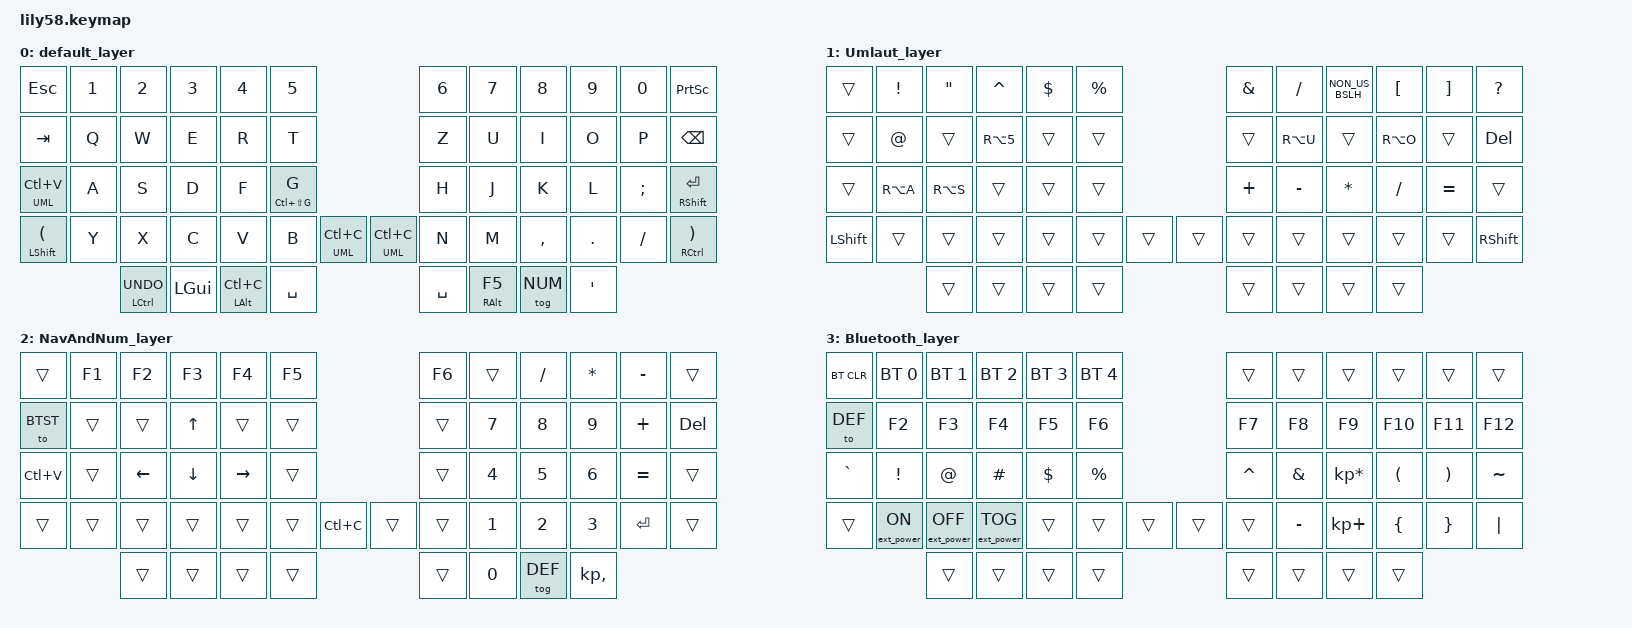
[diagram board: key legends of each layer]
/*
 * Copyright (c) 2020 The ZMK Contributors
 *
 * SPDX-License-Identifier: MIT
 */

#include <behaviors.dtsi>
#include <dt-bindings/zmk/keys.h>
#include <dt-bindings/zmk/bt.h>
#include <dt-bindings/zmk/ext_power.h>

#define DEF		0
#define UML		1
#define NUM		2
#define BTST	3

/ {
	keymap {
		compatible = "zmk,keymap";

		default_layer {
// ------------------------------------------------------------------------------------------------------------
// |  ESC  		|  1  |  2  |  3   |  4   |  5   |                   |  6    |  7    |  8    |  9   |   0   |Print Screen|
// |  TAB  		|  Q  |  W  |  E   |  R   |  T   |                   |  Z    |  U    |  I    |  O   |   P   |Back Space  |
// | L1/Paste	|  A  |  S  |  D   |  F   |  G   |                   |  H    |  J    |  K    |  L   |   ;   |Shift/Enter	|
// |SHIFT//		|  Y  |  X  |  C   |  V   |  B   |L1 Copy |  |L1 Copy|  N    |  M    |  ,    |  .   |   /   | Ctrl/) 	|
//                   |Ctrl/undo| GUI  | Alt/COPY |  SPACE |  | SPACE |Alt/FIN| TG2  	| '   	|
			bindings = <
&kp ESC   		&kp N1 &kp N2 			&kp N3   &kp N4   			&kp N5                     					&kp N6 		&kp N7   		&kp N8    	&kp N9  &kp N0   &kp PSCRN
&kp TAB   		&kp Q  &kp W  			&kp E    &kp R    			&kp T                      					&kp Z  		&kp U   		&kp I     	&kp O   &kp P    &kp BSPC
&lt UML LC(V)   &kp A  &kp S  			&kp D    &kp F    			&mt LC(LS(G)) G                      		&kp H  		&kp J    		&kp K     	&kp L   &kp SEMI &mt RSHFT ENTER
&mt LSHFT LPAR 	&kp Y  &kp X  			&kp C    &kp V    			&kp B  		&lt UML LC(C)   &lt UML LC(C)   &kp N  		&kp M    		&kp COMMA 	&kp DOT &kp FSLH &mt RCTRL RPAR
                       &mt LCTRL K_UNDO &kp LGUI &mt LALT LC(C)  	&kp SPACE  									&kp SPACE  	&mt RALT F5	&tog NUM 	&kp SQT
			>;

		};

		Umlaut_layer {
// ------------------------------------------------------------------------------------------------------------
// |       |  !  |  "  |   ^  |   $  |   %  |                   |   &  |   /   |   \   |  "[" |  "]"  |    ?  |
// |       |  @  |     | EURO |      |      |                   |      |  ue   |       |  oe  |       |  del  |
// |       |  ae |  ss |      |      |      |                   |   +  |   -   |   *   |   /  |   =   |       |
// | Shift |     |     |      |      |      |        |  |       |      |       |       |      |       | Shift |
//                     |      |      |      |        |  |       |      |       |       |
			bindings = <
&trans	 	&kp EXCL     	&kp DQT     &kp CARET   &kp DOLLAR	&kp PRCNT                  &kp AMPS &kp FSLH    &kp NON_US_BSLH  &kp LBKT    &kp RBKT  &kp QMARK
&trans     	&kp AT          &trans      &kp RA(5)   &trans      &trans                     &trans   &kp RA(U)   &trans           &kp RA(O)   &trans    &kp DEL
&trans  	&kp RA(A)       &kp RA(S)   &trans      &trans   	&trans                     &kp PLUS &kp MINUS   &kp STAR	     &kp FSLH  	 &kp EQUAL &trans
&kp LSHFT  	&trans 			&trans 		&trans 		&trans      &trans    &trans   &trans  &trans   &trans      &trans     		 &trans  	 &trans    &kp RSHFT
										&trans      &trans      &trans    &trans   &trans  &trans   &trans      &trans
			>;

		};

		NavAndNum_layer {
// ------------------------------------------------------------------------------------------------------------
// |       |  F1 |  F2 |  F3  |  F4  |  F5  |                   |  F6  |       |   /   |  *   |   -   |       |
// | BTST  |     |     |  UP  |      |      |                   |      |   7   |   8   |  9   |   +   |  DEL  |
// | PASTE |     |LEFT | DOWN |RIGHT |      |                   |      |   4   |   5   |  6   |   =   |       |
// |       |     |     |      |      |      |  COPY  |  |       |      |   1   |   2   |  3   | ENTER |       |
//                     |      |      |      |        |  |       |  0   |DEFAULT|   ,   |
			bindings = <
&trans  	&kp F1 &kp F2 	&kp F3 	 &kp F4   	&kp F5                       	&kp F6  &trans   &kp FSLH &kp STAR   &kp MINUS  &trans
&to BTST  	&trans &trans 	&kp UP   &trans  	&trans                       	&trans  &kp N7   &kp N8   &kp N9     &kp PLUS   &kp DEL
&kp LC(V)   &trans &kp LEFT &kp DOWN &kp RIGHT  &trans                      	&trans  &kp N4   &kp N5   &kp N6   	 &kp EQUAL  &trans
&trans   	&trans &trans 	&trans   &trans 	&trans   &kp LC(C)   	&trans  &trans  &kp N1   &kp N2   &kp N3   	 &kp ENTER  &trans
							&trans   &trans  	&trans   &trans   		&trans  &kp N0  &tog DEF &kp KP_COMMA
			>;

		};
		
	Bluetooth_layer {
// ------------------------------------------------------------------------------------------------------------
// | BTCLR | BT1 | BT2 |  BT3 |  BT4 |  BT5 |                   |      |       |       |      |       |       |
// |DEFAULT|  F2 |  F3 |  F4  |  F5  |  F6  |                   |  F7  |  F8   |  F9   |  F10 |  F11  |  F12  |
// |   `   |  !  |  @  |  #   |  $   |  %   |                   |  ^   |  &    |  *    |  (   |   )   |   ~   |
// |       |     |     |      |      |      |        |  |       |      |  _    |  +    |  {   |   }   |  "|"  |
//                     |      |      |      |        |  |       |      |       |       |
			bindings = <
&bt BT_CLR &bt BT_SEL 0     &bt BT_SEL 1      &bt BT_SEL 2      &bt BT_SEL 3 &bt BT_SEL 4                 &trans    &trans    &trans          &trans    &trans    &trans
&to DEF   &kp F2           &kp F3            &kp F4            &kp F5       &kp F6                       &kp F7    &kp F8    &kp F9          &kp F10   &kp F11   &kp F12
&kp GRAVE  &kp EXCL         &kp AT            &kp HASH          &kp DOLLAR   &kp PRCNT                    &kp CARET &kp AMPS  &kp KP_MULTIPLY &kp LPAR  &kp RPAR  &kp TILDE
&trans     &ext_power EP_ON &ext_power EP_OFF &ext_power EP_TOG &trans       &trans    &trans   &trans    &trans    &kp MINUS &kp KP_PLUS     &kp LBRC  &kp RBRC  &kp PIPE
                                              &trans            &trans       &trans    &trans   &trans    &trans    &trans    &trans
			>;

		
		};
	
	};
};
